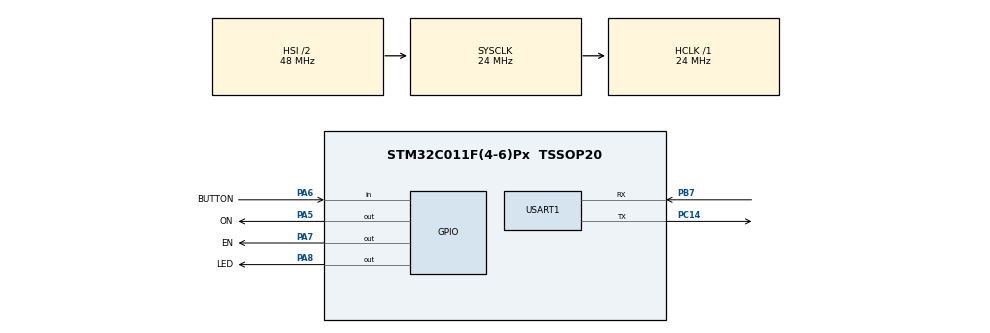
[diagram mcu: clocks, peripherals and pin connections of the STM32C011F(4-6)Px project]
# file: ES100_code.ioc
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Mcu.Family=STM32C0
Mcu.Name=STM32C011F(4-6)Px
Mcu.Package=TSSOP20
NVIC.TIM17_IRQn=true\:0\:0\:false\:false\:true\:true\:true\:true
PA13.Mode=Serial_Wire
PA13.Signal=DEBUG_SWDIO
PA14-BOOT0.Mode=Serial_Wire
PA14-BOOT0.Signal=DEBUG_SWCLK
PA5.GPIO_Label=ON
PA5.Signal=GPIO_Output
PA6.GPIO_Label=BUTTON
PA6.Signal=GPIO_Input
PA7.GPIO_Label=EN
PA7.Signal=GPIO_Output
PA8.GPIO_Label=LED
PA8.Signal=GPIO_Output
PB7.Mode=Asynchronous
PB7.Signal=USART1_RX
PC14-OSCX_IN\ (PC14).Mode=Asynchronous
PC14-OSCX_IN\ (PC14).Signal=USART1_TX
ProjectManager.HeapSize=0x200
ProjectManager.StackSize=0x400
ProjectManager.TargetToolchain=STM32CubeIDE
RCC.ADCFreq_Value=24000000
RCC.AHBFreq_Value=24000000
RCC.CortexFreq_Value=24000000
RCC.EXTERNAL_CLOCK_VALUE=12288000
RCC.HCLKFreq_Value=24000000
RCC.HSE_VALUE=8000000
RCC.HSISYSCLKDivider=RCC_HSI_DIV2
RCC.HSI_VALUE=48000000
RCC.LSE_VALUE=32768
RCC.SYSCLKFreq_VALUE=24000000
TIM17.AutoReloadPreload=TIM_AUTORELOAD_PRELOAD_ENABLE
TIM17.Period=59999
TIM17.Prescaler=3
USART1.VirtualMode-Asynchronous=VM_ASYNC
VP_TIM17_VS_ClockSourceINT.Mode=Enable_Timer
board=custom

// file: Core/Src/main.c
/* USER CODE BEGIN Header */
/**
  ******************************************************************************
  * @file           : main.c
  * @brief          : Main program body
  ******************************************************************************
  * @attention
  *
  * Copyright (c) 2025 STMicroelectronics.
  * All rights reserved.
  *
  * This software is licensed under terms that can be found in the LICENSE file
  * in the root directory of this software component.
  * If no LICENSE file comes with this software, it is provided AS-IS.
  *
  ******************************************************************************
  */
/* USER CODE END Header */
#include "main.h"
#include "tim.h"
#include "usart.h"
#include "gpio.h"

/* USER CODE BEGIN Includes */
#include "stdio.h"
#include "button.h"
/* USER CODE END Includes */

/* USER CODE BEGIN PTD */
typedef struct ESCconfig{
	uint8_t firstDigit;
	uint8_t secondDigit;
	uint8_t fastAcceleration;
	uint8_t kmph;
	uint8_t fifthDigit;
	uint8_t light;
	uint8_t lightBlink;
	uint8_t enable;
	uint8_t speedLimit;
}ESCconfig_t;
/* USER CODE END PTD */

/* USER CODE BEGIN PM */
#define BUTTON_CHECK(GPIOx,GPIO_Pin) HAL_GPIO_ReadPin(GPIOx, GPIO_Pin)
/* USER CODE END PM */

/* USER CODE BEGIN PV */
uint32_t lastTick =0;//for non-blocking intervals

ESCconfig_t ESC ={1,0,0,1,0,0,0,1,228};//esc initial configuration

/* USER CODE END PV */

void SystemClock_Config(void);
/* USER CODE BEGIN PFP */
/**
  * @brief  CRC8 (Maxim/Dallas) calculation
  * @retval uint8_t
  */
uint8_t CRC8_maxim(uint8_t *data);

void Button_ShortRelease(uint8_t btnCode);
void Button_LongPress(uint8_t btnCode);
void Button_LongRelease(uint8_t btnCode);

void InitialLongPress(GPIO_TypeDef *GPIOx, uint16_t GPIO_Pin);

/* USER CODE END PFP */

int main(void)
{

  /* MCU Configuration--------------------------------------------------------*/

  /* Reset of all peripherals, Initializes the Flash interface and the Systick. */
  HAL_Init();

  /* Configure the system clock */
  SystemClock_Config();

  /* Initialize all configured peripherals */
  MX_GPIO_Init();
  MX_USART1_UART_Init();
  MX_TIM17_Init();
  /* USER CODE BEGIN 2 */

  btn_instance_t keys[1] = {
      {
          .port = BUTTON_GPIO_Port,
          .pin = BUTTON_Pin,
      },
  };

  btn_init_t btn_init = {
      .process_time_ms = 10,
      .debounce_time_ms = 20,
      .port_read = (port_read_cb_t)&HAL_GPIO_ReadPin,
      .short_release = Button_ShortRelease,
      .long_release = Button_LongRelease,
      .long_press = Button_LongPress,
  };

  InitialLongPress(BUTTON_GPIO_Port, BUTTON_Pin);

  /* USER CODE END 2 */

  /* Infinite loop */
  /* USER CODE BEGIN WHILE */
  while (1)
  {
//	  BUTTON_CHECK(GPIOA, GPIO_PIN_2);
	  HAL_GPIO_TogglePin(LED_GPIO_Port, LED_Pin);
	  HAL_Delay(200);

    /* USER CODE END WHILE */

  }
}

void SystemClock_Config(void)
{
  RCC_OscInitTypeDef RCC_OscInitStruct = {0};
  RCC_ClkInitTypeDef RCC_ClkInitStruct = {0};

  /** Initializes the RCC Oscillators according to the specified parameters
  * in the RCC_OscInitTypeDef structure.
  */
  RCC_OscInitStruct.OscillatorType = RCC_OSCILLATORTYPE_HSI;
  RCC_OscInitStruct.HSIState = RCC_HSI_ON;
  RCC_OscInitStruct.HSIDiv = RCC_HSI_DIV2;
  RCC_OscInitStruct.HSICalibrationValue = RCC_HSICALIBRATION_DEFAULT;
  if (HAL_RCC_OscConfig(&RCC_OscInitStruct) != HAL_OK)
  {
    Error_Handler();
  }

  /** Initializes the CPU, AHB and APB buses clocks
  */
  RCC_ClkInitStruct.ClockType = RCC_CLOCKTYPE_HCLK|RCC_CLOCKTYPE_SYSCLK
                              |RCC_CLOCKTYPE_PCLK1;
  RCC_ClkInitStruct.SYSCLKSource = RCC_SYSCLKSOURCE_HSI;
  RCC_ClkInitStruct.SYSCLKDivider = RCC_SYSCLK_DIV1;
  RCC_ClkInitStruct.AHBCLKDivider = RCC_HCLK_DIV1;
  RCC_ClkInitStruct.APB1CLKDivider = RCC_APB1_DIV1;

  if (HAL_RCC_ClockConfig(&RCC_ClkInitStruct, FLASH_LATENCY_0) != HAL_OK)
  {
    Error_Handler();
  }
}

/* USER CODE BEGIN 4 */
void HAL_TIM_PeriodElapsedCallback(TIM_HandleTypeDef *htim){
	if (htim->Instance == TIM17){
		Button_Update();
	}

}

void InitialLongPress(GPIO_TypeDef *GPIOx, uint16_t GPIO_Pin){
	while(1){
		while(HAL_GPIO_ReadPin(GPIOx, GPIO_Pin)==1){//do until press event
				HAL_Delay(1);
			}
			HAL_Delay(19);
			//debounce check
			if (HAL_GPIO_ReadPin(GPIOx, GPIO_Pin)==1){
				return; //there was a noise
			}
			//duration measurement
			uint32_t pressDuration = HAL_GetTick();
			while (HAL_GPIO_ReadPin(GPIOx, GPIO_Pin)==0){
				if (HAL_GetTick()- pressDuration >= 1500){
					HAL_GPIO_WritePin(LED_GPIO_Port, LED_Pin, GPIO_PIN_SET);
					HAL_GPIO_WritePin(ON_GPIO_Port, ON_Pin, GPIO_PIN_SET);

					while (HAL_GPIO_ReadPin(GPIOx, GPIO_Pin)==0){//do until release event
						HAL_Delay(1);
					}
					HAL_Delay(20);
					if (HAL_GPIO_ReadPin(GPIOx, GPIO_Pin)==1){// if the button is released
						//do something
						HAL_GPIO_WritePin(LED_GPIO_Port, LED_Pin, GPIO_PIN_RESET);
					}
					return;
				}
				HAL_Delay(1);
			}
	}

}

void Button_ShortRelease(uint8_t btnCode){

}
void Button_LongPress(uint8_t btnCode){

}
void Button_LongRelease(uint8_t btnCode){

}

/* USER CODE END 4 */

void Error_Handler(void)
{
  __disable_irq();
  while (1)
  {
  }
}
